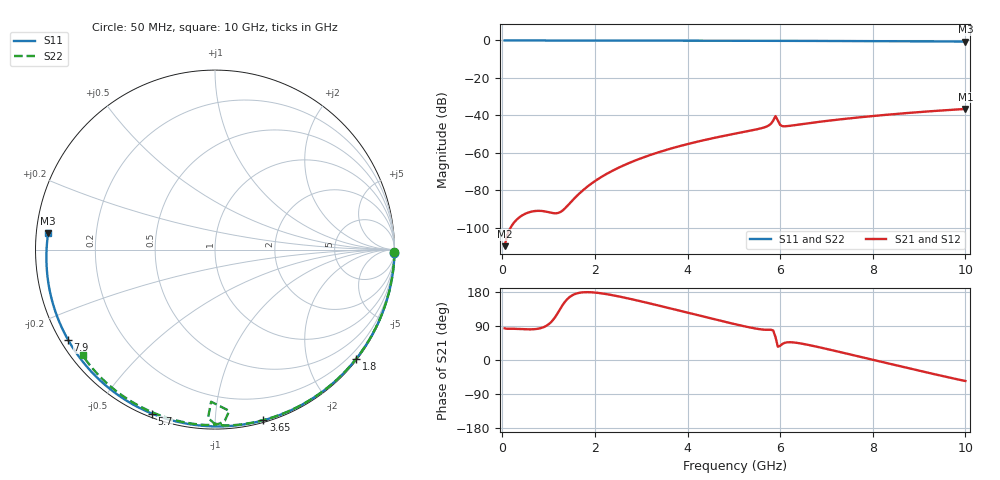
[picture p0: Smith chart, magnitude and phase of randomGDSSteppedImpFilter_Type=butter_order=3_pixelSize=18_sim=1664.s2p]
! freq	dB(S11)	phase(S11)	dB(S12)	phase(S12)
!  dB(S21)	phase(S21)	dB(S22)	phase(S22)
!S-par simulation data
#  GHz  S  DB  R 50
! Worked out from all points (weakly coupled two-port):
!   200 points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, 50 MHz to 10 GHz, reference 50 ohm
!   highest |S21| = -36.62 dB at 10 GHz (marker M1); lowest = -110.0 dB at 50 MHz (marker M2)
!   lowest |S11| = -0.6 dB at 10 GHz (marker M3), VSWR 29.34, Z = 1.71 + j2.48 ohm
!   |S11| at or under -10 dB: nowhere
!   |S22| runs from -1.4 to 0.0 dB; largest |S21 - S12| = 0
!   S11 on the Smith chart (normalised r, x): 50 MHz: open; 1.8 GHz: 0.03, -2.92; 3.65 GHz: 0.02, -1.32; 5.7 GHz: 0.02, -0.69; 7.9 GHz: 0.02, -0.28; 10 GHz: 0.03, +0.05
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0.05  -0.00 -1.1  -109.96 83.6  -109.96 83.6  -0.00 -0.8
0.85  -0.02 -18.1  -91.14 84.8  -91.14 84.8  -0.02 -13.8
1.75  -0.05 -36.8  -79.91 178.7  -79.91 178.7  -0.04 -28.1
1.8  -0.05 -37.8  -78.87 179.0  -78.87 179.0  -0.04 -28.9
2.1  -0.06 -43.9  -73.57 176.6  -73.57 176.6  -0.04 -33.6
2.45  -0.07 -50.9  -68.75 169.3  -68.75 169.3  -0.05 -39.1
2.9  -0.08 -59.8  -63.88 157.5  -63.88 157.5  -0.06 -46.0
3.4  -0.09 -69.4  -59.57 143.0  -59.57 143.0  -0.07 -53.5
3.65  -0.10 -74.2  -57.72 135.5  -57.72 135.5  -0.08 -57.3
5.05  -0.15 -99.7  -49.69 93.8  -49.69 93.8  -0.12 -77.6
5.7  -0.19 -111.0  -46.09 79.7  -46.09 79.7  -0.19 -87.8
5.8  -0.19 -112.8  -44.56 79.8  -44.56 79.8  -0.30 -90.4
5.85  -0.20 -113.6  -42.84 77.9  -42.84 77.9  -0.55 -92.4
5.9  -0.20 -114.5  -40.40 60.3  -40.40 60.3  -1.43 -91.5
5.95  -0.20 -115.3  -42.74 34.9  -42.74 34.9  -0.89 -84.9
6  -0.20 -116.2  -45.16 37.5  -45.16 37.5  -0.40 -86.7
6.05  -0.21 -117.1  -45.82 42.5  -45.82 42.5  -0.27 -88.4
6.7  -0.25 -128.1  -43.94 37.5  -43.94 37.5  -0.20 -98.9
7.9  -0.35 -148.4  -40.63 3.5  -40.63 3.5  -0.27 -114.6
8.35  -0.39 -156.1  -39.61 -9.5  -39.61 -9.5  -0.31 -120.2
9.2  -0.49 -171.0  -37.93 -33.8  -37.93 -33.8  -0.39 -130.9
10  -0.59 174.3  -36.62 -55.4  -36.62 -55.4  -0.51 -141.4
